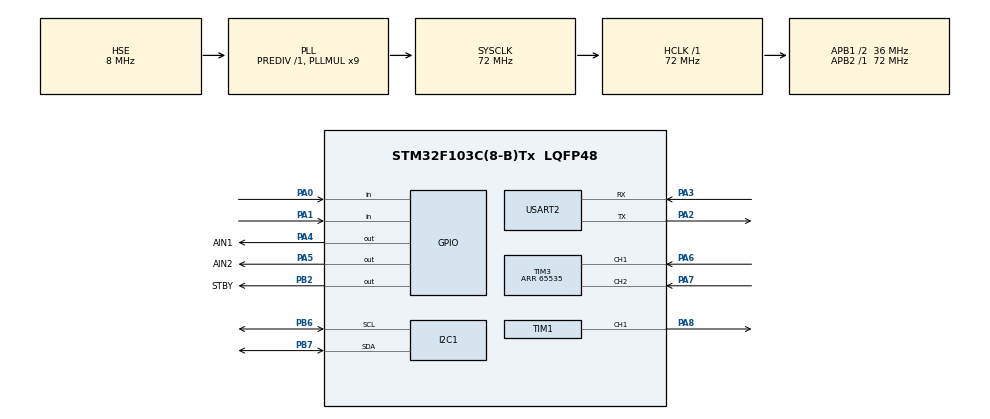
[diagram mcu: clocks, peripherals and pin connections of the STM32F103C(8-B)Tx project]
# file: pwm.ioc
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Dma.Request0=USART2_RX
Dma.Request1=USART2_TX
Dma.USART2_RX.0.Direction=DMA_PERIPH_TO_MEMORY
Dma.USART2_RX.0.Instance=DMA1_Channel6
Dma.USART2_RX.0.MemDataAlignment=DMA_MDATAALIGN_BYTE
Dma.USART2_RX.0.MemInc=DMA_MINC_ENABLE
Dma.USART2_RX.0.Mode=DMA_NORMAL
Dma.USART2_RX.0.PeriphDataAlignment=DMA_PDATAALIGN_BYTE
Dma.USART2_RX.0.PeriphInc=DMA_PINC_DISABLE
Dma.USART2_RX.0.Priority=DMA_PRIORITY_LOW
Dma.USART2_TX.1.Direction=DMA_MEMORY_TO_PERIPH
Dma.USART2_TX.1.Instance=DMA1_Channel7
Dma.USART2_TX.1.MemDataAlignment=DMA_MDATAALIGN_BYTE
Dma.USART2_TX.1.MemInc=DMA_MINC_ENABLE
Dma.USART2_TX.1.Mode=DMA_NORMAL
Dma.USART2_TX.1.PeriphDataAlignment=DMA_PDATAALIGN_BYTE
Dma.USART2_TX.1.PeriphInc=DMA_PINC_DISABLE
Dma.USART2_TX.1.Priority=DMA_PRIORITY_LOW
Mcu.Family=STM32F1
Mcu.Name=STM32F103C(8-B)Tx
Mcu.Package=LQFP48
NVIC.DMA1_Channel6_IRQn=true\:0\:0\:false\:false\:true\:false\:true\:true
NVIC.DMA1_Channel7_IRQn=true\:0\:0\:false\:false\:true\:false\:true\:true
NVIC.PriorityGroup=NVIC_PRIORITYGROUP_4
NVIC.TIM1_UP_IRQn=true\:1\:0\:true\:false\:true\:true\:true\:true
NVIC.TIM2_IRQn=true\:1\:0\:true\:false\:true\:true\:true\:true
NVIC.TIM3_IRQn=true\:2\:0\:true\:false\:true\:true\:true\:true
NVIC.USART2_IRQn=true\:0\:0\:false\:false\:true\:true\:true\:true
PA0-WKUP.GPIO_PuPd=GPIO_PULLUP
PA0-WKUP.Signal=GPIO_Input
PA1.GPIO_PuPd=GPIO_PULLUP
PA1.Signal=GPIO_Input
PA2.Mode=Asynchronous
PA2.Signal=USART2_TX
PA3.Mode=Asynchronous
PA3.Signal=USART2_RX
PA4.GPIO_Label=AIN1
PA4.GPIO_PuPd=GPIO_PULLUP
PA4.GPIO_Speed=GPIO_SPEED_FREQ_MEDIUM
PA4.Signal=GPIO_Output
PA5.GPIO_Label=AIN2
PA5.GPIO_PuPd=GPIO_PULLUP
PA5.GPIO_Speed=GPIO_SPEED_FREQ_MEDIUM
PA5.Signal=GPIO_Output
PA6.GPIO_PuPd=GPIO_PULLUP
PA6.Signal=S_TIM3_CH1
PA7.GPIO_PuPd=GPIO_PULLUP
PA7.Signal=S_TIM3_CH2
PA8.Signal=S_TIM1_CH1
PB2.GPIO_Label=STBY
PB2.GPIO_PuPd=GPIO_PULLUP
PB2.GPIO_Speed=GPIO_SPEED_FREQ_MEDIUM
PB2.Signal=GPIO_Output
PB6.Mode=I2C
PB6.Signal=I2C1_SCL
PB7.Mode=I2C
PB7.Signal=I2C1_SDA
PC14-OSC32_IN.Mode=LSE-External-Oscillator
PC14-OSC32_IN.Signal=RCC_OSC32_IN
PC15-OSC32_OUT.Mode=LSE-External-Oscillator
PC15-OSC32_OUT.Signal=RCC_OSC32_OUT
PD0-OSC_IN.Mode=HSE-External-Oscillator
PD0-OSC_IN.Signal=RCC_OSC_IN
PD1-OSC_OUT.Mode=HSE-External-Oscillator
PD1-OSC_OUT.Signal=RCC_OSC_OUT
ProjectManager.HeapSize=0x200
ProjectManager.StackSize=0x400
ProjectManager.TargetToolchain=MDK-ARM V5.32
RCC.AHBFreq_Value=72000000
RCC.APB1CLKDivider=RCC_HCLK_DIV2
RCC.APB1Freq_Value=36000000
RCC.APB1TimFreq_Value=72000000
RCC.APB2Freq_Value=72000000
RCC.APB2TimFreq_Value=72000000
RCC.HCLKFreq_Value=72000000
RCC.PLLMUL=RCC_PLL_MUL9
RCC.PLLSourceVirtual=RCC_PLLSOURCE_HSE
RCC.SYSCLKFreq_VALUE=72000000
RCC.SYSCLKSource=RCC_SYSCLKSOURCE_PLLCLK
RCC.USBFreq_Value=72000000
SH.S_TIM1_CH1.0=TIM1_CH1,PWM Generation1 CH1
SH.S_TIM3_CH1.0=TIM3_CH1,Encoder_Interface
SH.S_TIM3_CH2.0=TIM3_CH2,Encoder_Interface
TIM1.Channel-PWM\ Generation1\ CH1=TIM_CHANNEL_1
TIM1.Period=999
TIM1.Prescaler=719
TIM2.AutoReloadPreload=TIM_AUTORELOAD_PRELOAD_ENABLE
TIM2.Period=1000
TIM2.Prescaler=719
TIM3.EncoderMode=TIM_ENCODERMODE_TI12
TIM3.IC1Filter=0
TIM3.Period=65535
USART2.VirtualMode=VM_ASYNC
VP_SYS_VS_ND.Mode=No_Debug
VP_TIM1_VS_ClockSourceINT.Mode=Internal
VP_TIM2_VS_ClockSourceINT.Mode=Internal
board=custom

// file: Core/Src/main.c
/* USER CODE BEGIN Header */
/**
  ******************************************************************************
  * @file           : main.c
  * @brief          : Main program body
  ******************************************************************************
  * @attention
  *
  * Copyright (c) 2023 STMicroelectronics.
  * All rights reserved.
  *
  * This software is licensed under terms that can be found in the LICENSE file
  * in the root directory of this software component.
  * If no LICENSE file comes with this software, it is provided AS-IS.
  *
  ******************************************************************************
  */
/* USER CODE END Header */
#include "main.h"
#include "dma.h"
#include "i2c.h"
#include "tim.h"
#include "usart.h"
#include "gpio.h"

/* USER CODE BEGIN Includes */
#include "TB6612.h"
#include "oled.h"
#include "stdio.h"
#include "pid.h"
/* USER CODE END Includes */

/* USER CODE BEGIN PD */
uint8_t RxDate[16];
/* USER CODE END PD */

void SystemClock_Config(void);

int main(void)
{

  /* MCU Configuration--------------------------------------------------------*/

  /* Reset of all peripherals, Initializes the Flash interface and the Systick. */
  HAL_Init();

  /* Configure the system clock */
  SystemClock_Config();

  /* Initialize all configured peripherals */
  MX_GPIO_Init();
  MX_DMA_Init();
  MX_TIM1_Init();
  MX_TIM2_Init();
  MX_TIM3_Init();
  MX_I2C1_Init();
  MX_USART2_UART_Init();
  /* USER CODE BEGIN 2 */
	PID2_Init(&Pid1Speed,Speed_KP1,Speed_KI1,Speed_KD1);
	PID1_Init(&Pid1Location,Location_KP1,Location_KI1,Location_KD1,750,1000);
	Motor_Init();
	OLED_Init();
	MOtor_SetState(1);
  /* USER CODE END 2 */
		Encoder1.SpeedIn=0;
		OLED_Display_Num(0,0,Encoder1.SpeedIn,4);
  /* Infinite loop */
  /* USER CODE BEGIN WHILE */
  while (1)
  {
if(Encoder1.SpeedIn==200)
	Encoder1.SpeedIn=0;
 Encoder1.SpeedIn+=20;
		OLED_Display_Num(0,0,Encoder1.SpeedIn,4);
		HAL_Delay(5000);
//			Encoder1.SpeedIn=50;
//		OLED_Display_Num(0,0,Encoder1.SpeedIn,4);
//		HAL_Delay(5000);
//		Encoder1.SpeedIn=-50;
//		OLED_Display_Num(0,0,Encoder1.SpeedIn,4);
//		HAL_Delay(5000);
    /* USER CODE END WHILE */

  }
}

void SystemClock_Config(void)
{
  RCC_OscInitTypeDef RCC_OscInitStruct = {0};
  RCC_ClkInitTypeDef RCC_ClkInitStruct = {0};

  /** Initializes the RCC Oscillators according to the specified parameters
  * in the RCC_OscInitTypeDef structure.
  */
  RCC_OscInitStruct.OscillatorType = RCC_OSCILLATORTYPE_HSE;
  RCC_OscInitStruct.HSEState = RCC_HSE_ON;
  RCC_OscInitStruct.HSEPredivValue = RCC_HSE_PREDIV_DIV1;
  RCC_OscInitStruct.HSIState = RCC_HSI_ON;
  RCC_OscInitStruct.PLL.PLLState = RCC_PLL_ON;
  RCC_OscInitStruct.PLL.PLLSource = RCC_PLLSOURCE_HSE;
  RCC_OscInitStruct.PLL.PLLMUL = RCC_PLL_MUL9;
  if (HAL_RCC_OscConfig(&RCC_OscInitStruct) != HAL_OK)
  {
    Error_Handler();
  }

  /** Initializes the CPU, AHB and APB buses clocks
  */
  RCC_ClkInitStruct.ClockType = RCC_CLOCKTYPE_HCLK|RCC_CLOCKTYPE_SYSCLK
                              |RCC_CLOCKTYPE_PCLK1|RCC_CLOCKTYPE_PCLK2;
  RCC_ClkInitStruct.SYSCLKSource = RCC_SYSCLKSOURCE_PLLCLK;
  RCC_ClkInitStruct.AHBCLKDivider = RCC_SYSCLK_DIV1;
  RCC_ClkInitStruct.APB1CLKDivider = RCC_HCLK_DIV2;
  RCC_ClkInitStruct.APB2CLKDivider = RCC_HCLK_DIV1;

  if (HAL_RCC_ClockConfig(&RCC_ClkInitStruct, FLASH_LATENCY_2) != HAL_OK)
  {
    Error_Handler();
  }
}

void Error_Handler(void)
{
  __disable_irq();
  while (1)
  {
  }
}
